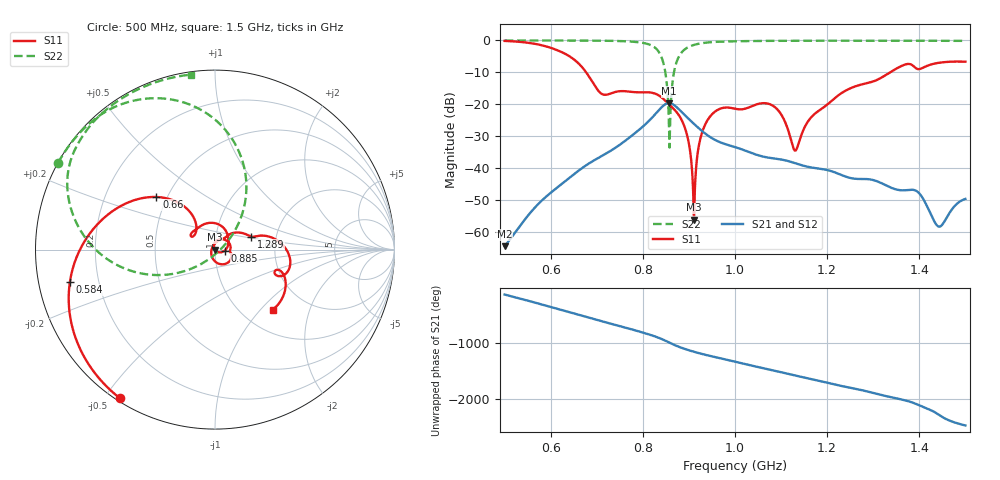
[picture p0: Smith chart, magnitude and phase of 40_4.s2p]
! TOUCHSTONE file generated by CST MICROWAVE STUDIO
! Date and time: Fri Oct  2 17:01:17 2020
! Project name: Scenario_1_Free_Space_out_of_line.cst
! Parameters = {Lambda=346.42; Step_1=17.321; dy1=-328.659; dx1=693; L_HA=400; MT=2.54; Rad_Dielectric=30; Rad_Lower=7.3; Rad_Upper=30; a_HA=580; a_WG=246; b_HA=500; b_WG=121; c_HA=0; c_WG=187; d_feed=85; h_feed=15; h_lower=18; h_upper=40}
! Header version: 2018
! Port assignment regex: !\s*Touchstone port\s*([0-9]+)\s*=\s*(CST MWS port|CST DS port)\s*([0-9]+|Zmin|Zmax)\s*\(\"(.*)\"\)(\s*mode\s*([0-9]+))?.*
! Touchstone port assignment:
! Touchstone port 1 = CST MWS port 1 ("")
! Touchstone port 2 = CST MWS port 2 ("")
# GHz S DB R 50
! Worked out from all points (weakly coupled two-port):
!   1003 points, 500 MHz to 1.5 GHz, reference 50 ohm
!   highest |S21| = -19.68 dB at 857 MHz (marker M1); lowest = -64.6 dB at 500 MHz (marker M2)
!   lowest |S11| = -56.3 dB at 911 MHz (marker M3), VSWR 1.00, Z = 49.9 - j0.0759 ohm
!   |S11| at or under -10 dB: 676.8 MHz to 1.337 GHz (659.8 MHz wide, 65.5 % of centre)
!   |S22| runs from -33.6 to 0.0 dB; largest |S21 - S12| = 2e-05
!   S11 on the Smith chart (normalised r, x): 500 MHz: 0.01, -0.55; 584 MHz: 0.10, -0.11; 660 MHz: 0.44, +0.32; 885 MHz: 1.12, -0.01; 1.289 GHz: 1.49, +0.23; 1.5 GHz: 1.37, -1.17
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0.5  -0.15 -122.6  -64.59 -139.1  -64.59 -139.1  -0.01 151.1
0.584  -1.64 -167.4  -49.83 35.8  -49.83 35.8  -0.02 145.3
0.66  -7.15 138.1  -40.94 -137.3  -40.95 -137.3  -0.04 139.0
0.667  -8.21 132.9  -40.20 -153.6  -40.20 -153.6  -0.04 138.3
0.713  -16.94 139.4  -36.10 100.3  -36.10 100.3  -0.09 133.2
0.834  -17.21 76.8  -22.01 171.6  -22.01 171.6  -3.46 85.2
0.847  -18.67 56.4  -20.20 126.3  -20.20 126.3  -8.57 62.1
0.857  -20.11 42.0  -19.68 87.1  -19.68 87.1  -28.49 11.2
0.869  -21.81 24.1  -20.43 41.2  -20.43 41.2  -8.97 -156.5
0.885  -25.22 -5.5  -22.57 -10.7  -22.57 -10.7  -3.62 -179.5
0.911  -56.26 -150.4  -26.21 -78.8  -26.21 -78.8  -1.40 162.3
0.923  -31.96 104.9  -27.77 -106.1  -27.77 -106.1  -0.99 157.2
0.938  -25.63 76.5  -29.52 -137.2  -29.52 -137.2  -0.68 152.3
1  -21.44 -1.0  -33.48 105.1  -33.48 105.1  -0.27 140.2
1.083  -20.56 -60.7  -37.02 -49.5  -37.02 -49.5  -0.13 131.2
1.131  -34.60 159.2  -38.56 -142.0  -38.56 -142.0  -0.11 127.1
1.167  -23.88 60.5  -39.92 153.3  -39.92 153.3  -0.09 124.2
1.289  -13.32 19.5  -43.56 -69.4  -43.56 -69.4  -0.09 114.9
1.334  -10.24 13.7  -45.94 -159.5  -45.94 -159.5  -0.09 111.5
1.396  -8.97 -21.3  -47.49 62.1  -47.49 62.1  -0.10 106.6
1.443  -7.01 -28.4  -58.47 -124.1  -58.48 -124.0  -0.12 102.8
1.5  -6.68 -46.2  -49.75 48.9  -49.75 48.9  -0.14 97.9
